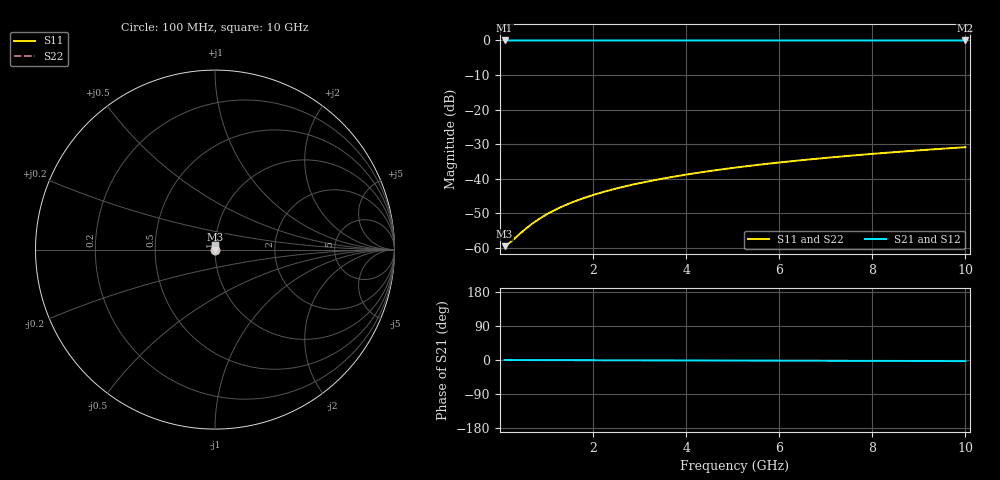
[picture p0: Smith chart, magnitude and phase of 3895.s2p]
# Hz S RI R 50.00
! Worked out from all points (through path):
!   100 points, 100 MHz to 10 GHz, reference 50 ohm
!   highest |S21| = -0.01 dB at 100 MHz (marker M1); lowest = 0.0 dB at 10 GHz (marker M2)
!   lowest |S11| = -59.5 dB at 100 MHz (marker M3), VSWR 1.00, Z = 50.1 + j0.0285 ohm
!   |S11| at or under -10 dB: start of sweep to end of sweep
!   |S22| runs from -59.5 to -30.9 dB; largest |S21 - S12| = 0
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1e8  0.00102 0.000284  0.999 -0.000509  0.999 -0.000509  0.00102 0.000284
2e8  0.00102 0.000568  0.999 -0.00102  0.999 -0.00102  0.00102 0.000568
5e8  0.00104 0.00142  0.999 -0.00254  0.999 -0.00254  0.00104 0.00142
6e8  0.00104 0.0017  0.999 -0.00305  0.999 -0.00305  0.00104 0.0017
7e8  0.00105 0.00199  0.9989 -0.00356  0.9989 -0.00356  0.00105 0.00199
9e8  0.00106 0.00256  0.9989 -0.00458  0.9989 -0.00458  0.00106 0.00256
1.1e9  0.00107 0.00312  0.9989 -0.0056  0.9989 -0.0056  0.00107 0.00312
1.3e9  0.00108 0.00369  0.9989 -0.00661  0.9989 -0.00661  0.00108 0.00369
1.5e9  0.00109 0.00426  0.9989 -0.00763  0.9989 -0.00763  0.00109 0.00426
1.8e9  0.00111 0.00511  0.9989 -0.00916  0.9989 -0.00916  0.00111 0.00511
2.1e9  0.00113 0.00597  0.9989 -0.0107  0.9989 -0.0107  0.00113 0.00597
2.5e9  0.00116 0.0071  0.9988 -0.0127  0.9988 -0.0127  0.00116 0.0071
2.9e9  0.00119 0.00824  0.9988 -0.0148  0.9988 -0.0148  0.00119 0.00824
3.4e9  0.00124 0.00966  0.9987 -0.0173  0.9987 -0.0173  0.00124 0.00966
3.8e9  0.00129 0.0108  0.9987 -0.0193  0.9987 -0.0193  0.00129 0.0108
4.2e9  0.00134 0.0119  0.9986 -0.0214  0.9986 -0.0214  0.00134 0.0119
5.1e9  0.00147 0.0145  0.9985 -0.026  0.9985 -0.026  0.00147 0.0145
5.9e9  0.0016 0.0168  0.9983 -0.03  0.9983 -0.03  0.0016 0.0168
6.7e9  0.00176 0.019  0.9981 -0.0341  0.9981 -0.0341  0.00176 0.019
7.5e9  0.00193 0.0213  0.9979 -0.0382  0.9979 -0.0382  0.00193 0.0213
8.4e9  0.00214 0.0239  0.9977 -0.0428  0.9977 -0.0428  0.00214 0.0239
1e10  0.00259 0.0284  0.9971 -0.0509  0.9971 -0.0509  0.00259 0.0284
